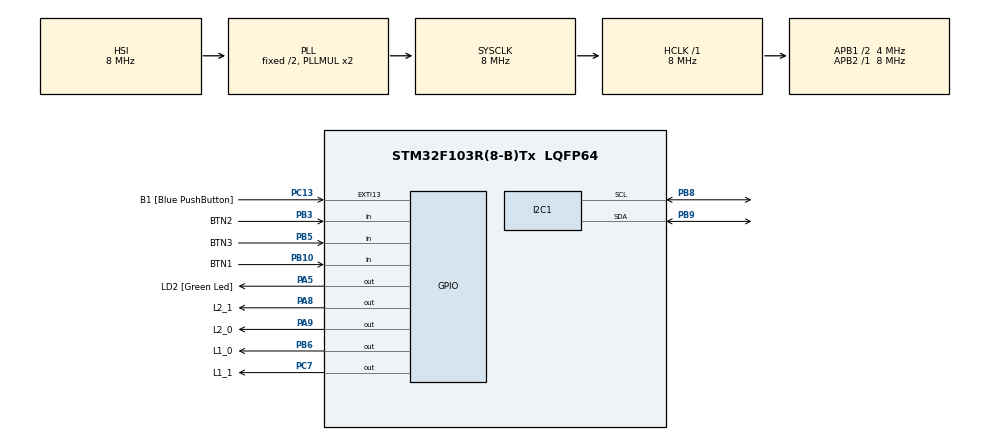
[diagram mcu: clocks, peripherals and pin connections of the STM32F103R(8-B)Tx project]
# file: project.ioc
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Mcu.Family=STM32F1
Mcu.Name=STM32F103R(8-B)Tx
Mcu.Package=LQFP64
NVIC.EXTI15_10_IRQn=true\:0\:0\:false\:false\:true\:true\:true\:true
NVIC.PriorityGroup=NVIC_PRIORITYGROUP_4
NVIC.TIM2_IRQn=true\:0\:0\:false\:false\:true\:true\:true\:true
PA13.GPIO_Label=TMS
PA13.Mode=Serial_Wire
PA13.Signal=SYS_JTMS-SWDIO
PA14.GPIO_Label=TCK
PA14.Mode=Serial_Wire
PA14.Signal=SYS_JTCK-SWCLK
PA2.GPIO_Label=USART_TX
PA2.GPIO_Mode=GPIO_MODE_AF_PP
PA2.GPIO_PuPd=GPIO_NOPULL
PA2.GPIO_Speed=GPIO_SPEED_FREQ_LOW
PA2.Signal=USART2_TX
PA3.GPIO_Label=USART_RX
PA3.GPIO_Mode=GPIO_MODE_AF_PP
PA3.GPIO_PuPd=GPIO_NOPULL
PA3.GPIO_Speed=GPIO_SPEED_FREQ_LOW
PA3.Signal=USART2_RX
PA5.GPIO_Label=LD2 [Green Led]
PA5.GPIO_ModeDefaultOutputPP=GPIO_MODE_OUTPUT_PP
PA5.GPIO_PuPd=GPIO_NOPULL
PA5.GPIO_Speed=GPIO_SPEED_FREQ_LOW
PA5.Signal=GPIO_Output
PA8.GPIO_Label=L2_1
PA8.Signal=GPIO_Output
PA9.GPIO_Label=L2_0
PA9.Signal=GPIO_Output
PB10.GPIO_Label=BTN1
PB10.Signal=GPIO_Input
PB3.GPIO_Label=BTN2
PB3.Signal=GPIO_Input
PB5.GPIO_Label=BTN3
PB5.Signal=GPIO_Input
PB6.GPIO_Label=L1_0
PB6.Signal=GPIO_Output
PB8.Mode=I2C
PB8.Signal=I2C1_SCL
PB9.Mode=I2C
PB9.Signal=I2C1_SDA
PC13-TAMPER-RTC.GPIO_Label=B1 [Blue PushButton]
PC13-TAMPER-RTC.GPIO_PuPd=GPIO_NOPULL
PC13-TAMPER-RTC.Signal=GPXTI13
PC14-OSC32_IN.Signal=RCC_OSC32_IN
PC15-OSC32_OUT.Signal=RCC_OSC32_OUT
PC7.GPIO_Label=L1_1
PC7.Signal=GPIO_Output
PD0-OSC_IN.Mode=HSE-External-Oscillator
PD0-OSC_IN.Signal=RCC_OSC_IN
PD1-OSC_OUT.Mode=HSE-External-Oscillator
PD1-OSC_OUT.Signal=RCC_OSC_OUT
ProjectManager.HeapSize=0x200
ProjectManager.StackSize=0x400
ProjectManager.TargetToolchain=STM32CubeIDE
RCC.AHBFreq_Value=8000000
RCC.APB1CLKDivider=RCC_HCLK_DIV2
RCC.APB1Freq_Value=4000000
RCC.APB1TimFreq_Value=8000000
RCC.APB2Freq_Value=8000000
RCC.APB2TimFreq_Value=8000000
RCC.HCLKFreq_Value=8000000
RCC.RTCClockSelection=RCC_RTCCLKSOURCE_LSE
RCC.SYSCLKFreq_VALUE=8000000
RCC.SYSCLKSource=RCC_SYSCLKSOURCE_PLLCLK
RCC.USBFreq_Value=8000000
TIM2.Period=9
TIM2.Prescaler=7999
VP_TIM2_VS_ClockSourceINT.Mode=Internal
board=NUCLEO-F103RB

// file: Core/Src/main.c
/* USER CODE BEGIN Header */
/**
  ******************************************************************************
  * @file           : main.c
  * @brief          : Main program body
  ******************************************************************************
  * @attention
  *
  * Copyright (c) 2024 STMicroelectronics.
  * All rights reserved.
  *
  * This software is licensed under terms that can be found in the LICENSE file
  * in the root directory of this software component.
  * If no LICENSE file comes with this software, it is provided AS-IS.
  *
  ******************************************************************************
  */
/* USER CODE END Header */
#include "main.h"

/* USER CODE BEGIN Includes */
#include "fsm.h"
#include "scheduler.h"
 #include "lcd.h"
#include "sw_timer.h"
#include "led_display.h"
/* USER CODE END Includes */

I2C_HandleTypeDef hi2c1;

TIM_HandleTypeDef htim2;

void SystemClock_Config(void);
static void MX_GPIO_Init(void);
static void MX_I2C1_Init(void);
static void MX_TIM2_Init(void);

/* USER CODE BEGIN 0 */
void lcd_display()
{
    lcd_display_mode(fsm_state, lcd_data);
}
/* USER CODE END 0 */

int main(void)
{

  /* MCU Configuration--------------------------------------------------------*/

  /* Reset of all peripherals, Initializes the Flash interface and the Systick. */
  HAL_Init();

  /* Configure the system clock */
  SystemClock_Config();

  /* Initialize all configured peripherals */
  MX_GPIO_Init();
  MX_I2C1_Init();
  MX_TIM2_Init();
  /* USER CODE BEGIN 2 */
  HAL_TIM_Base_Start_IT(&htim2);
  lcd_init ();
  fsm_init();

  Scheduler_Init();
  Scheduler_Add_Task(button_reading, 1, 1);
  Scheduler_Add_Task(updateTimer, 3, 1);
  Scheduler_Add_Task(fsm_run, 5, 1);
  Scheduler_Add_Task(lcd_display, 7, freq_to_tick(LCD_FREQ));
  /* USER CODE END 2 */

  /* Infinite loop */
  /* USER CODE BEGIN WHILE */
  while (1)
  {
	 Scheduler_Dispatch_Tasks();
    /* USER CODE END WHILE */

  }
}

void SystemClock_Config(void)
{
  RCC_OscInitTypeDef RCC_OscInitStruct = {0};
  RCC_ClkInitTypeDef RCC_ClkInitStruct = {0};

  /** Initializes the RCC Oscillators according to the specified parameters
  * in the RCC_OscInitTypeDef structure.
  */
  RCC_OscInitStruct.OscillatorType = RCC_OSCILLATORTYPE_HSI;
  RCC_OscInitStruct.HSIState = RCC_HSI_ON;
  RCC_OscInitStruct.HSICalibrationValue = RCC_HSICALIBRATION_DEFAULT;
  RCC_OscInitStruct.PLL.PLLState = RCC_PLL_ON;
  RCC_OscInitStruct.PLL.PLLSource = RCC_PLLSOURCE_HSI_DIV2;
  RCC_OscInitStruct.PLL.PLLMUL = RCC_PLL_MUL2;
  if (HAL_RCC_OscConfig(&RCC_OscInitStruct) != HAL_OK)
  {
    Error_Handler();
  }

  /** Initializes the CPU, AHB and APB buses clocks
  */
  RCC_ClkInitStruct.ClockType = RCC_CLOCKTYPE_HCLK|RCC_CLOCKTYPE_SYSCLK
                              |RCC_CLOCKTYPE_PCLK1|RCC_CLOCKTYPE_PCLK2;
  RCC_ClkInitStruct.SYSCLKSource = RCC_SYSCLKSOURCE_PLLCLK;
  RCC_ClkInitStruct.AHBCLKDivider = RCC_SYSCLK_DIV1;
  RCC_ClkInitStruct.APB1CLKDivider = RCC_HCLK_DIV2;
  RCC_ClkInitStruct.APB2CLKDivider = RCC_HCLK_DIV1;

  if (HAL_RCC_ClockConfig(&RCC_ClkInitStruct, FLASH_LATENCY_0) != HAL_OK)
  {
    Error_Handler();
  }
}

static void MX_I2C1_Init(void)
{

  hi2c1.Instance = I2C1;
  hi2c1.Init.ClockSpeed = 100000;
  hi2c1.Init.DutyCycle = I2C_DUTYCYCLE_2;
  hi2c1.Init.OwnAddress1 = 0;
  hi2c1.Init.AddressingMode = I2C_ADDRESSINGMODE_7BIT;
  hi2c1.Init.DualAddressMode = I2C_DUALADDRESS_DISABLE;
  hi2c1.Init.OwnAddress2 = 0;
  hi2c1.Init.GeneralCallMode = I2C_GENERALCALL_DISABLE;
  hi2c1.Init.NoStretchMode = I2C_NOSTRETCH_DISABLE;
  if (HAL_I2C_Init(&hi2c1) != HAL_OK)
  {
    Error_Handler();
  }

}

static void MX_TIM2_Init(void)
{

  TIM_ClockConfigTypeDef sClockSourceConfig = {0};
  TIM_MasterConfigTypeDef sMasterConfig = {0};

  htim2.Instance = TIM2;
  htim2.Init.Prescaler = 7999;
  htim2.Init.CounterMode = TIM_COUNTERMODE_UP;
  htim2.Init.Period = 9;
  htim2.Init.ClockDivision = TIM_CLOCKDIVISION_DIV1;
  htim2.Init.AutoReloadPreload = TIM_AUTORELOAD_PRELOAD_DISABLE;
  if (HAL_TIM_Base_Init(&htim2) != HAL_OK)
  {
    Error_Handler();
  }
  sClockSourceConfig.ClockSource = TIM_CLOCKSOURCE_INTERNAL;
  if (HAL_TIM_ConfigClockSource(&htim2, &sClockSourceConfig) != HAL_OK)
  {
    Error_Handler();
  }
  sMasterConfig.MasterOutputTrigger = TIM_TRGO_RESET;
  sMasterConfig.MasterSlaveMode = TIM_MASTERSLAVEMODE_DISABLE;
  if (HAL_TIMEx_MasterConfigSynchronization(&htim2, &sMasterConfig) != HAL_OK)
  {
    Error_Handler();
  }

}

static void MX_GPIO_Init(void)
{
  GPIO_InitTypeDef GPIO_InitStruct = {0};

  /* GPIO Ports Clock Enable */
  __HAL_RCC_GPIOC_CLK_ENABLE();
  __HAL_RCC_GPIOD_CLK_ENABLE();
  __HAL_RCC_GPIOA_CLK_ENABLE();
  __HAL_RCC_GPIOB_CLK_ENABLE();

  /*Configure GPIO pin Output Level */
  HAL_GPIO_WritePin(GPIOA, LD2_Pin|L2_1_Pin|L2_0_Pin, GPIO_PIN_RESET);

  /*Configure GPIO pin Output Level */
  HAL_GPIO_WritePin(L1_1_GPIO_Port, L1_1_Pin, GPIO_PIN_RESET);

  /*Configure GPIO pin Output Level */
  HAL_GPIO_WritePin(L1_0_GPIO_Port, L1_0_Pin, GPIO_PIN_RESET);

  /*Configure GPIO pin : B1_Pin */
  GPIO_InitStruct.Pin = B1_Pin;
  GPIO_InitStruct.Mode = GPIO_MODE_IT_RISING;
  GPIO_InitStruct.Pull = GPIO_NOPULL;
  HAL_GPIO_Init(B1_GPIO_Port, &GPIO_InitStruct);

  /*Configure GPIO pins : USART_TX_Pin USART_RX_Pin */
  GPIO_InitStruct.Pin = USART_TX_Pin|USART_RX_Pin;
  GPIO_InitStruct.Mode = GPIO_MODE_AF_PP;
  GPIO_InitStruct.Speed = GPIO_SPEED_FREQ_LOW;
  HAL_GPIO_Init(GPIOA, &GPIO_InitStruct);

  /*Configure GPIO pins : LD2_Pin L2_1_Pin L2_0_Pin */
  GPIO_InitStruct.Pin = LD2_Pin|L2_1_Pin|L2_0_Pin;
  GPIO_InitStruct.Mode = GPIO_MODE_OUTPUT_PP;
  GPIO_InitStruct.Pull = GPIO_NOPULL;
  GPIO_InitStruct.Speed = GPIO_SPEED_FREQ_LOW;
  HAL_GPIO_Init(GPIOA, &GPIO_InitStruct);

  /*Configure GPIO pins : BTN1_Pin BTN2_Pin BTN3_Pin */
  GPIO_InitStruct.Pin = BTN1_Pin|BTN2_Pin|BTN3_Pin;
  GPIO_InitStruct.Mode = GPIO_MODE_INPUT;
  GPIO_InitStruct.Pull = GPIO_NOPULL;
  HAL_GPIO_Init(GPIOB, &GPIO_InitStruct);

  /*Configure GPIO pin : L1_1_Pin */
  GPIO_InitStruct.Pin = L1_1_Pin;
  GPIO_InitStruct.Mode = GPIO_MODE_OUTPUT_PP;
  GPIO_InitStruct.Pull = GPIO_NOPULL;
  GPIO_InitStruct.Speed = GPIO_SPEED_FREQ_LOW;
  HAL_GPIO_Init(L1_1_GPIO_Port, &GPIO_InitStruct);

  /*Configure GPIO pin : L1_0_Pin */
  GPIO_InitStruct.Pin = L1_0_Pin;
  GPIO_InitStruct.Mode = GPIO_MODE_OUTPUT_PP;
  GPIO_InitStruct.Pull = GPIO_NOPULL;
  GPIO_InitStruct.Speed = GPIO_SPEED_FREQ_LOW;
  HAL_GPIO_Init(L1_0_GPIO_Port, &GPIO_InitStruct);

  /* EXTI interrupt init*/
  HAL_NVIC_SetPriority(EXTI15_10_IRQn, 0, 0);
  HAL_NVIC_EnableIRQ(EXTI15_10_IRQn);

}

/* USER CODE BEGIN 4 */
void HAL_TIM_PeriodElapsedCallback(TIM_HandleTypeDef *htim)
{
    if (htim->Instance == TIM2)
    {
        Scheduler_Update();
    }
}
/* USER CODE END 4 */

void Error_Handler(void)
{
  __disable_irq();
  while (1)
  {
  }
}
